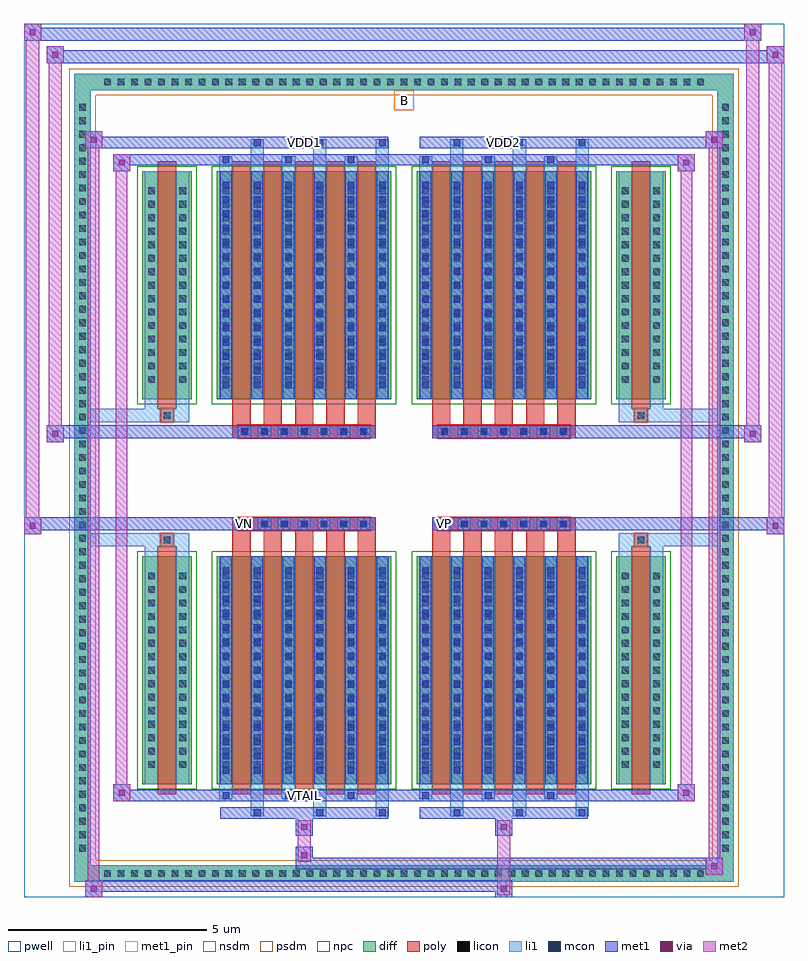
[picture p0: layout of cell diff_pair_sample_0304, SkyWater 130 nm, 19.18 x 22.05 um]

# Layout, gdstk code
import gdstk
lib = gdstk.Library(unit=1e-6, precision=5e-09)
def R(c, l, rs):  # rectangles x0, y0, x1, y1
    for r in rs: c.add(gdstk.rectangle(r[:2], r[2:], *l))
def A(c, l, x, y, w, h, nx, ny, dx, dy):  # array of equal rectangles
    R(c, l, [(x+i*dx, y+j*dy, x+i*dx+w, y+j*dy+h) for i in range(nx) for j in range(ny)])
def P(c, l, *ps):  # polygons
    for p in ps: c.add(gdstk.Polygon(p, *l))
pwell = (64, 44)
diff = (65, 20)
poly = (66, 20)
licon = (66, 44)
li1_pin = (67, 16)
li1 = (67, 20)
mcon = (67, 44)
met1_pin = (68, 16)
met1 = (68, 20)
via = (68, 44)
met2 = (69, 20)
nsdm = (93, 44)
psdm = (94, 20)
npc = (95, 20)

diff_pair_sample_0304 = lib.new_cell('diff_pair_sample_0304')
R(diff_pair_sample_0304, pwell, [(-9.59,-10.59,9.59,11.46), (-6.91,-8.78,-0.01,-0.8), (0.01,-8.78,6.91,-0.8), (-6.91,0.8,-0.01,8.78), (0.01,0.8,6.91,8.78)])
A(diff_pair_sample_0304, diff, -7.685, -10.19, 0.41, 0.41, 45, 2, 0.34, 19.97)
A(diff_pair_sample_0304, diff, -8.32, -9.555, 0.41, 0.41, 1, 56, 0, 0.34)
A(diff_pair_sample_0304, diff, 7.91, -9.555, 0.41, 0.41, 1, 56, 0, 0.34)
R(diff_pair_sample_0304, diff, [(-7.685,-10.19,7.685,-9.78), (-8.32,-9.555,-7.91,9.555), (7.91,-9.555,8.32,9.555), (-6.6,-7.735,-5.36,-1.985), (-4.72,-7.735,-0.32,-1.985), (0.32,-7.735,4.72,-1.985), (5.36,-7.735,6.6,-1.985), (-6.6,1.985,-5.36,7.735), (-4.72,1.985,-0.32,7.735), (0.32,1.985,4.72,7.735), (5.36,1.985,6.6,7.735), (-7.685,9.78,7.685,10.19)])
P(diff_pair_sample_0304, diff, [(8.32,10.19),(-8.32,10.19),(-8.32,-9.78),(-7.91,-9.78),(-7.91,9.78),(7.91,9.78),(7.91,-9.78),(-7.91,-9.78),(-8.32,-9.78),(-8.32,-10.19),(8.32,-10.19)])
A(diff_pair_sample_0304, poly, -4.33, -7.985, 0.46, 6.25, 5, 2, 0.79, 9.72)
A(diff_pair_sample_0304, poly, 0.71, -7.985, 0.46, 6.25, 5, 2, 0.79, 9.72)
A(diff_pair_sample_0304, poly, -4.33, -1.735, 0.46, 0.405, 5, 2, 0.79, 3.065)
A(diff_pair_sample_0304, poly, 0.71, -1.735, 0.46, 0.405, 5, 2, 0.79, 3.065)
A(diff_pair_sample_0304, poly, -4.185, -1.33, 0.33, 0.33, 7, 2, 0.5, 2.33)
A(diff_pair_sample_0304, poly, 0.855, -1.33, 0.33, 0.33, 7, 2, 0.5, 2.33)
R(diff_pair_sample_0304, poly, [(-6.21,-7.985,-5.75,-1.735), (5.75,-7.985,6.21,-1.735), (-6.145,-1.735,-5.815,-1.405), (-6.145,-1.735,-5.815,-1.405), (5.815,-1.735,6.145,-1.405), (5.815,-1.735,6.145,-1.405), (-4.33,-1.33,-0.71,-1), (0.71,-1.33,4.33,-1), (-4.33,1,-0.71,1.33), (0.71,1,4.33,1.33), (-6.145,1.405,-5.815,1.735), (-6.145,1.405,-5.815,1.735), (5.815,1.405,6.145,1.735), (5.815,1.405,6.145,1.735), (-6.21,1.735,-5.75,7.985), (5.75,1.735,6.21,7.985)])
A(diff_pair_sample_0304, licon, -7.565, -10.07, 0.17, 0.17, 45, 2, 0.34, 19.97)
A(diff_pair_sample_0304, licon, -8.2, -9.435, 0.17, 0.17, 1, 56, 0, 0.34)
A(diff_pair_sample_0304, licon, 8.03, -9.435, 0.17, 0.17, 1, 56, 0, 0.34)
A(diff_pair_sample_0304, licon, -6.46, -7.325, 0.17, 0.17, 1, 15, 0, 0.34)
A(diff_pair_sample_0304, licon, -5.67, -7.325, 0.17, 0.17, 1, 15, 0, 0.34)
A(diff_pair_sample_0304, licon, -4.58, -7.325, 0.17, 0.17, 6, 15, 0.79, 0.34)
A(diff_pair_sample_0304, licon, 0.46, -7.325, 0.17, 0.17, 6, 15, 0.79, 0.34)
A(diff_pair_sample_0304, licon, 5.5, -7.325, 0.17, 0.17, 1, 15, 0, 0.34)
A(diff_pair_sample_0304, licon, 6.29, -7.325, 0.17, 0.17, 1, 15, 0, 0.34)
A(diff_pair_sample_0304, licon, -4.105, -1.25, 0.17, 0.17, 7, 2, 0.5, 2.33)
A(diff_pair_sample_0304, licon, 0.935, -1.25, 0.17, 0.17, 7, 2, 0.5, 2.33)
A(diff_pair_sample_0304, licon, -6.46, 2.395, 0.17, 0.17, 1, 15, 0, 0.34)
A(diff_pair_sample_0304, licon, -5.67, 2.395, 0.17, 0.17, 1, 15, 0, 0.34)
A(diff_pair_sample_0304, licon, -4.58, 2.395, 0.17, 0.17, 6, 15, 0.79, 0.34)
A(diff_pair_sample_0304, licon, 0.46, 2.395, 0.17, 0.17, 6, 15, 0.79, 0.34)
A(diff_pair_sample_0304, licon, 5.5, 2.395, 0.17, 0.17, 1, 15, 0, 0.34)
A(diff_pair_sample_0304, licon, 6.29, 2.395, 0.17, 0.17, 1, 15, 0, 0.34)
R(diff_pair_sample_0304, licon, [(-6.065,-1.655,-5.895,-1.485), (5.895,-1.655,6.065,-1.485), (-6.065,1.485,-5.895,1.655), (5.895,1.485,6.065,1.655)])
R(diff_pair_sample_0304, li1_pin, [(-0.25,9.28,0.25,9.78)])
A(diff_pair_sample_0304, li1, -7.645, -10.15, 0.33, 0.33, 45, 2, 0.34, 19.97)
A(diff_pair_sample_0304, li1, -8.28, -9.515, 0.33, 0.33, 1, 56, 0, 0.34)
A(diff_pair_sample_0304, li1, 7.95, -9.515, 0.33, 0.33, 1, 56, 0, 0.34)
A(diff_pair_sample_0304, li1, -3.87, -8.54, 0.33, 0.805, 3, 2, 1.58, 16.275)
A(diff_pair_sample_0304, li1, -3.79, -8.54, 0.17, 0.17, 3, 2, 1.58, 16.91)
A(diff_pair_sample_0304, li1, 1.17, -8.54, 0.33, 0.805, 3, 2, 1.58, 16.275)
A(diff_pair_sample_0304, li1, 1.25, -8.54, 0.17, 0.17, 3, 2, 1.58, 16.91)
A(diff_pair_sample_0304, li1, -4.66, -8.11, 0.33, 0.375, 3, 2, 1.58, 15.845)
A(diff_pair_sample_0304, li1, -4.58, -8.11, 0.17, 0.17, 3, 2, 1.58, 16.05)
A(diff_pair_sample_0304, li1, 0.38, -8.11, 0.33, 0.375, 3, 2, 1.58, 15.845)
A(diff_pair_sample_0304, li1, 0.46, -8.11, 0.17, 0.17, 3, 2, 1.58, 16.05)
A(diff_pair_sample_0304, li1, -4.66, -7.735, 0.33, 5.75, 6, 2, 0.79, 9.72)
A(diff_pair_sample_0304, li1, 0.38, -7.735, 0.33, 5.75, 6, 2, 0.79, 9.72)
A(diff_pair_sample_0304, li1, -4.58, -7.465, 0.17, 0.17, 6, 15, 0.79, 0.36)
A(diff_pair_sample_0304, li1, -4.58, -7.465, 0.17, 5.21, 6, 2, 0.79, 9.72)
A(diff_pair_sample_0304, li1, 0.46, -7.465, 0.17, 0.17, 6, 15, 0.79, 0.36)
A(diff_pair_sample_0304, li1, 0.46, -7.465, 0.17, 5.21, 6, 2, 0.79, 9.72)
A(diff_pair_sample_0304, li1, -6.54, -7.405, 0.33, 0.33, 1, 15, 0, 0.34)
A(diff_pair_sample_0304, li1, -5.75, -7.405, 0.33, 0.33, 1, 15, 0, 0.34)
A(diff_pair_sample_0304, li1, -4.66, -7.405, 0.33, 0.33, 6, 15, 0.79, 0.34)
A(diff_pair_sample_0304, li1, 0.38, -7.405, 0.33, 0.33, 6, 15, 0.79, 0.34)
A(diff_pair_sample_0304, li1, 5.42, -7.405, 0.33, 0.33, 1, 15, 0, 0.34)
A(diff_pair_sample_0304, li1, 6.21, -7.405, 0.33, 0.33, 1, 15, 0, 0.34)
A(diff_pair_sample_0304, li1, -4.185, -1.33, 0.33, 0.33, 7, 2, 0.5, 2.33)
A(diff_pair_sample_0304, li1, 0.855, -1.33, 0.33, 0.33, 7, 2, 0.5, 2.33)
A(diff_pair_sample_0304, li1, -4.58, 2.255, 0.17, 0.17, 6, 15, 0.79, 0.36)
A(diff_pair_sample_0304, li1, 0.46, 2.255, 0.17, 0.17, 6, 15, 0.79, 0.36)
A(diff_pair_sample_0304, li1, -6.54, 2.315, 0.33, 0.33, 1, 15, 0, 0.34)
A(diff_pair_sample_0304, li1, -5.75, 2.315, 0.33, 0.33, 1, 15, 0, 0.34)
A(diff_pair_sample_0304, li1, -4.66, 2.315, 0.33, 0.33, 6, 15, 0.79, 0.34)
A(diff_pair_sample_0304, li1, 0.38, 2.315, 0.33, 0.33, 6, 15, 0.79, 0.34)
A(diff_pair_sample_0304, li1, 5.42, 2.315, 0.33, 0.33, 1, 15, 0, 0.34)
A(diff_pair_sample_0304, li1, 6.21, 2.315, 0.33, 0.33, 1, 15, 0, 0.34)
R(diff_pair_sample_0304, li1, [(-8.32,-10.19,-7.91,-9.78), (-8.32,-10.19,-7.91,-9.78), (-7.91,-10.19,7.91,-9.78), (7.91,-10.19,8.32,-9.78), (7.91,-10.19,8.32,-9.78), (-8.32,-9.78,-7.91,9.78), (7.91,-9.78,8.32,9.78), (-6.54,-7.735,-6.21,-1.985), (-5.75,-7.735,-5.42,-1.985), (5.42,-7.735,5.75,-1.985), (6.21,-7.735,6.54,-1.985), (-6.54,-1.985,-6.21,-1.405), (-5.75,-1.985,-5.42,-1.405), (5.42,-1.985,5.75,-1.405), (6.21,-1.985,6.54,-1.405), (-8.32,-1.735,-6.145,-1.405), (-6.54,-1.735,-6.145,-1.405), (-6.145,-1.735,-5.815,-1.405), (-5.815,-1.735,-5.42,-1.405), (5.42,-1.735,5.815,-1.405), (5.815,-1.735,6.145,-1.405), (5.815,-1.735,8.32,-1.405), (6.145,-1.735,6.54,-1.405), (-8.32,1.405,-6.145,1.735), (-6.54,1.405,-6.145,1.735), (-6.54,1.405,-6.21,1.985), (-6.145,1.405,-5.815,1.735), (-5.815,1.405,-5.42,1.735), (-5.75,1.405,-5.42,1.985), (5.42,1.405,5.815,1.735), (5.42,1.405,5.75,1.985), (5.815,1.405,6.145,1.735), (5.815,1.405,8.32,1.735), (6.145,1.405,6.54,1.735), (6.21,1.405,6.54,1.985), (-6.54,1.985,-6.21,7.735), (-5.75,1.985,-5.42,7.735), (5.42,1.985,5.75,7.735), (6.21,1.985,6.54,7.735), (-8.32,9.78,-7.91,10.19), (-8.32,9.78,-7.91,10.19), (-7.91,9.78,7.91,10.19), (7.91,9.78,8.32,10.19), (7.91,9.78,8.32,10.19)])
A(diff_pair_sample_0304, mcon, -3.79, -8.54, 0.17, 0.17, 3, 2, 1.58, 16.91)
A(diff_pair_sample_0304, mcon, 1.25, -8.54, 0.17, 0.17, 3, 2, 1.58, 16.91)
A(diff_pair_sample_0304, mcon, -4.58, -8.11, 0.17, 0.17, 3, 2, 1.58, 16.05)
A(diff_pair_sample_0304, mcon, 0.46, -8.11, 0.17, 0.17, 3, 2, 1.58, 16.05)
A(diff_pair_sample_0304, mcon, -4.58, -7.465, 0.17, 0.17, 6, 15, 0.79, 0.36)
A(diff_pair_sample_0304, mcon, 0.46, -7.465, 0.17, 0.17, 6, 15, 0.79, 0.36)
A(diff_pair_sample_0304, mcon, -4.105, -1.25, 0.17, 0.17, 7, 2, 0.5, 2.33)
A(diff_pair_sample_0304, mcon, 0.935, -1.25, 0.17, 0.17, 7, 2, 0.5, 2.33)
A(diff_pair_sample_0304, mcon, -4.58, 2.255, 0.17, 0.17, 6, 15, 0.79, 0.36)
A(diff_pair_sample_0304, mcon, 0.46, 2.255, 0.17, 0.17, 6, 15, 0.79, 0.36)
R(diff_pair_sample_0304, met1_pin, [(-2.655,-8.15,-2.385,-7.88), (-4.155,-1.29,-3.885,-1.02), (0.885,-1.29,1.155,-1.02), (-2.655,8.33,-2.385,8.6), (2.385,8.33,2.655,8.6)])
A(diff_pair_sample_0304, met1, -3.85, -8.6, 0.29, 0.29, 3, 2, 1.58, 16.91)
A(diff_pair_sample_0304, met1, 1.19, -8.6, 0.29, 0.29, 3, 2, 1.58, 16.91)
A(diff_pair_sample_0304, met1, -4.64, -8.17, 0.29, 0.29, 3, 2, 1.58, 16.05)
A(diff_pair_sample_0304, met1, 0.4, -8.17, 0.29, 0.29, 3, 2, 1.58, 16.05)
A(diff_pair_sample_0304, met1, -4.64, -7.735, 0.29, 5.75, 6, 2, 0.79, 9.72)
A(diff_pair_sample_0304, met1, 0.4, -7.735, 0.29, 5.75, 6, 2, 0.79, 9.72)
A(diff_pair_sample_0304, met1, -4.64, -7.525, 0.29, 0.29, 6, 15, 0.79, 0.36)
A(diff_pair_sample_0304, met1, 0.4, -7.525, 0.29, 0.29, 6, 15, 0.79, 0.36)
A(diff_pair_sample_0304, met1, -4.165, -1.31, 0.29, 0.29, 7, 2, 0.5, 2.33)
A(diff_pair_sample_0304, met1, 0.875, -1.31, 0.29, 0.29, 7, 2, 0.5, 2.33)
A(diff_pair_sample_0304, met1, -4.64, 2.195, 0.29, 0.29, 6, 15, 0.79, 0.36)
A(diff_pair_sample_0304, met1, 0.4, 2.195, 0.29, 0.29, 6, 15, 0.79, 0.36)
R(diff_pair_sample_0304, met1, [(-8.05,-10.59,-7.62,-10.16), (2.305,-10.59,2.735,-10.16), (-8.05,-10.45,2.735,-10.16), (7.62,-10.02,8.05,-9.59), (-2.735,-9.88,8.05,-9.59), (-2.735,-9.74,-2.305,-9.31), (-2.735,-9.03,-2.305,-8.6), (2.305,-9.03,2.735,-8.6), (-4.64,-8.6,-0.4,-8.31), (0.4,-8.6,4.64,-8.31), (-7.34,-8.17,-6.91,-7.74), (-7.34,-8.17,-4.64,-7.88), (-4.64,-8.17,-0.4,-7.88), (-0.4,-8.17,0.4,-7.88), (0.4,-8.17,4.64,-7.88), (4.64,-8.17,7.34,-7.88), (6.91,-8.17,7.34,-7.74), (-9.59,-1.43,-9.16,-1), (9.16,-1.43,9.59,-1), (-9.59,-1.33,-0.71,-1), (-4.33,-1.33,-0.71,-1), (0.71,-1.33,4.33,-1), (0.71,-1.33,9.59,-1), (-9.02,0.9,-8.59,1.33), (8.59,0.9,9.02,1.33), (-9.02,1,-4.33,1.33), (-4.33,1,-0.71,1.33), (0.71,1,4.33,1.33), (4.33,1,9.02,1.33), (-7.34,7.74,-6.91,8.17), (6.91,7.74,7.34,8.17), (-7.34,7.88,-4.64,8.17), (-4.64,7.88,-0.4,8.17), (-0.4,7.88,0.4,8.17), (0.4,7.88,4.64,8.17), (4.64,7.88,7.34,8.17), (-8.05,8.31,-7.62,8.74), (-8.05,8.31,-4.64,8.6), (-4.64,8.31,-0.4,8.6), (0.4,8.31,4.64,8.6), (4.64,8.31,8.05,8.6), (7.62,8.31,8.05,8.74), (-9.02,10.46,-8.59,10.89), (-9.02,10.46,-6.91,10.79), (-6.91,10.46,6.91,10.79), (6.91,10.46,9.59,10.79), (9.16,10.46,9.59,10.89), (-9.59,11.03,-9.16,11.46), (-9.59,11.03,-6.91,11.36), (-6.91,11.03,6.91,11.36), (6.91,11.03,9.02,11.36), (8.59,11.03,9.02,11.46)])
R(diff_pair_sample_0304, via, [(-7.91,-10.45,-7.76,-10.3), (2.445,-10.45,2.595,-10.3), (7.76,-9.88,7.91,-9.73), (-2.595,-9.6,-2.445,-9.45), (-2.595,-8.89,-2.445,-8.74), (2.445,-8.89,2.595,-8.74), (-7.2,-8.03,-7.05,-7.88), (7.05,-8.03,7.2,-7.88), (-9.45,-1.29,-9.3,-1.14), (9.3,-1.29,9.45,-1.14), (-8.88,1.04,-8.73,1.19), (8.73,1.04,8.88,1.19), (-7.2,7.88,-7.05,8.03), (7.05,7.88,7.2,8.03), (-7.91,8.45,-7.76,8.6), (7.76,8.45,7.91,8.6), (-8.88,10.6,-8.73,10.75), (9.3,10.6,9.45,10.75), (-9.45,11.17,-9.3,11.32), (8.73,11.17,8.88,11.32)])
R(diff_pair_sample_0304, met2, [(-8.05,-10.59,-7.62,-10.16), (-7.98,-10.59,-7.69,8.74), (-7.69,-10.59,-7.62,-10.16), (-8,-10.54,-7.67,-10.21), (2.355,-10.54,2.685,-10.21), (2.355,-10.21,2.685,-8.98), (7.62,-10.02,8.05,-9.59), (7.69,-10.02,7.98,8.74), (7.98,-10.02,8.05,-9.59), (7.67,-9.97,8,-9.64), (-2.685,-9.69,-2.355,-9.36), (-2.685,-9.36,-2.355,-8.98), (-2.685,-8.98,-2.355,-8.65), (2.355,-8.98,2.685,-8.65), (-7.34,-8.17,-6.91,-7.74), (-7.27,-8.17,-6.98,8.17), (-6.98,-8.17,-6.91,-7.74), (6.91,-8.17,7.34,-7.74), (6.98,-8.17,7.27,8.17), (7.27,-8.17,7.34,-7.74), (-7.29,-8.12,-6.96,-7.79), (6.96,-8.12,7.29,-7.79), (-9.59,-1.43,-9.16,-1), (-9.54,-1.43,-9.21,11.46), (-9.21,-1.43,-9.16,-1), (9.16,-1.43,9.59,-1), (9.21,-1.43,9.54,10.89), (9.54,-1.43,9.59,-1), (-9.54,-1.38,-9.21,-1.05), (9.21,-1.38,9.54,-1.05), (-9.02,0.9,-8.59,1.33), (-8.97,0.9,-8.64,10.89), (-8.64,0.9,-8.59,1.33), (8.59,0.9,9.02,1.33), (8.64,0.9,8.97,11.46), (8.97,0.9,9.02,1.33), (-8.97,0.95,-8.64,1.28), (8.64,0.95,8.97,1.28), (-7.34,7.74,-6.91,8.17), (-6.98,7.74,-6.91,8.17), (6.91,7.74,7.34,8.17), (7.27,7.74,7.34,8.17), (-7.29,7.79,-6.96,8.12), (6.96,7.79,7.29,8.12), (-8.05,8.31,-7.62,8.74), (-7.69,8.31,-7.62,8.74), (7.62,8.31,8.05,8.74), (7.98,8.31,8.05,8.74), (-8,8.36,-7.67,8.69), (7.67,8.36,8,8.69), (-9.02,10.46,-8.59,10.89), (-8.64,10.46,-8.59,10.89), (9.16,10.46,9.59,10.89), (9.54,10.46,9.59,10.89), (-8.97,10.51,-8.64,10.84), (9.21,10.51,9.54,10.84), (-9.59,11.03,-9.16,11.46), (-9.21,11.03,-9.16,11.46), (8.59,11.03,9.02,11.46), (8.97,11.03,9.02,11.46), (-9.54,11.08,-9.21,11.41), (8.64,11.08,8.97,11.41)])
R(diff_pair_sample_0304, nsdm, [(-6.73,-7.865,-5.23,-1.855), (-4.85,-7.865,-0.19,-1.855), (0.19,-7.865,4.85,-1.855), (5.23,-7.865,6.73,-1.855), (-6.73,1.855,-5.23,7.865), (-4.85,1.855,-0.19,7.865), (0.19,1.855,4.85,7.865), (5.23,1.855,6.73,7.865)])
P(diff_pair_sample_0304, psdm, [(8.45,10.32),(-8.45,10.32),(-8.45,-9.65),(-7.78,-9.65),(-7.78,9.65),(7.78,9.65),(7.78,-9.65),(-7.78,-9.65),(-8.45,-9.65),(-8.45,-10.32),(8.45,-10.32)])
A(diff_pair_sample_0304, npc, -4.205, -1.35, 0.37, 0.37, 7, 2, 0.5, 2.33)
A(diff_pair_sample_0304, npc, 0.835, -1.35, 0.37, 0.37, 7, 2, 0.5, 2.33)
R(diff_pair_sample_0304, npc, [(-6.165,-1.755,-5.795,-1.385), (5.795,-1.755,6.165,-1.385), (-4.205,-1.35,-3.335,-0.98), (-4.205,-1.35,-3.335,-0.98), (-3.705,-1.35,-2.835,-0.98), (-3.705,-1.35,-2.835,-0.98), (-3.205,-1.35,-2.335,-0.98), (-3.205,-1.35,-2.335,-0.98), (-2.705,-1.35,-1.835,-0.98), (-2.705,-1.35,-1.835,-0.98), (-2.205,-1.35,-1.335,-0.98), (-2.205,-1.35,-1.335,-0.98), (-1.705,-1.35,-0.835,-0.98), (-1.705,-1.35,-0.835,-0.98), (0.835,-1.35,1.705,-0.98), (0.835,-1.35,1.705,-0.98), (1.335,-1.35,2.205,-0.98), (1.335,-1.35,2.205,-0.98), (1.835,-1.35,2.705,-0.98), (1.835,-1.35,2.705,-0.98), (2.335,-1.35,3.205,-0.98), (2.335,-1.35,3.205,-0.98), (2.835,-1.35,3.705,-0.98), (2.835,-1.35,3.705,-0.98), (3.335,-1.35,4.205,-0.98), (3.335,-1.35,4.205,-0.98), (-4.205,0.98,-3.335,1.35), (-4.205,0.98,-3.335,1.35), (-3.705,0.98,-2.835,1.35), (-3.705,0.98,-2.835,1.35), (-3.205,0.98,-2.335,1.35), (-3.205,0.98,-2.335,1.35), (-2.705,0.98,-1.835,1.35), (-2.705,0.98,-1.835,1.35), (-2.205,0.98,-1.335,1.35), (-2.205,0.98,-1.335,1.35), (-1.705,0.98,-0.835,1.35), (-1.705,0.98,-0.835,1.35), (0.835,0.98,1.705,1.35), (0.835,0.98,1.705,1.35), (1.335,0.98,2.205,1.35), (1.335,0.98,2.205,1.35), (1.835,0.98,2.705,1.35), (1.835,0.98,2.705,1.35), (2.335,0.98,3.205,1.35), (2.335,0.98,3.205,1.35), (2.835,0.98,3.705,1.35), (2.835,0.98,3.705,1.35), (3.335,0.98,4.205,1.35), (3.335,0.98,4.205,1.35), (-6.165,1.385,-5.795,1.755), (5.795,1.385,6.165,1.755)])
diff_pair_sample_0304.add(gdstk.Label('VTAIL', (-2.52,-8.015), layer=68, texttype=5))
diff_pair_sample_0304.add(gdstk.Label('VN', (-4.02,-1.155), layer=68, texttype=5))
diff_pair_sample_0304.add(gdstk.Label('VP', (1.02,-1.155), layer=68, texttype=5))
diff_pair_sample_0304.add(gdstk.Label('B', (0,9.53), layer=67, texttype=5))
diff_pair_sample_0304.add(gdstk.Label('VDD2', (2.52,8.465), layer=68, texttype=5))
diff_pair_sample_0304.add(gdstk.Label('VDD1', (-2.52,8.465), layer=68, texttype=5))

lib.write_gds('diff_pair_sample_0304.gds')
